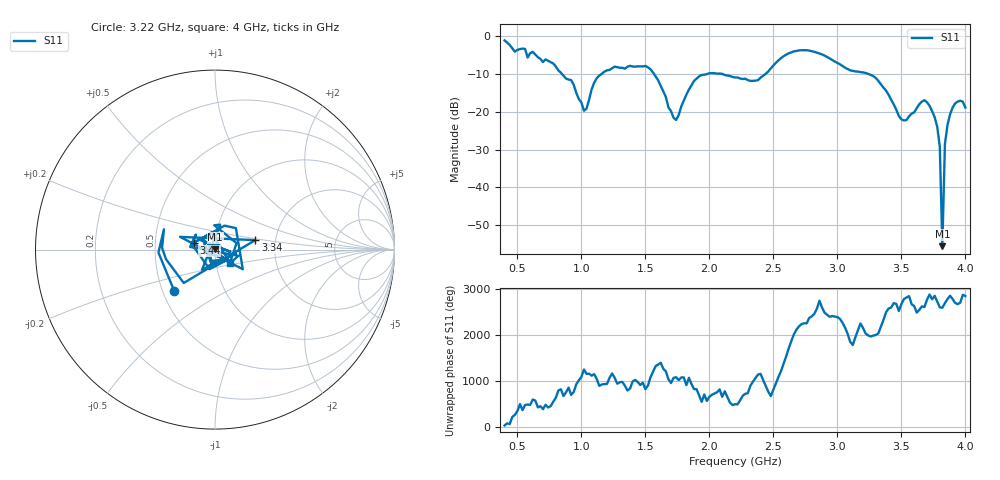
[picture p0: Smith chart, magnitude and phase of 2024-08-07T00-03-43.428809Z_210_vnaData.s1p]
!Created with skrf (http://scikit-rf.org).
# Hz S RI R 50.0
!freq ReS11 ImS11
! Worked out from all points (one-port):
!   181 points, 400 MHz to 4 GHz, reference 50 ohm
!   lowest |S11| = -55.5 dB at 3.82 GHz (marker M1), VSWR 1.00, Z = 50.1 + j0.149 ohm
!   |S11| at or under -10 dB: 1.566 GHz to 1.988 GHz (421.9 MHz wide, 23.7 % of centre); 2.095 GHz to 2.44 GHz (345.9 MHz wide, 15.3 % of centre); 3.239 GHz to end of sweep (the widest 3 of 4)
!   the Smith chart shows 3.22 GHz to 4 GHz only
!   S11 on the Smith chart (normalised r, x): 3.22 GHz: 0.57, -0.30; 3.34 GHz: 1.57, +0.17; 3.44 GHz: 0.78, +0.06; 4 GHz: 1.17, -0.18
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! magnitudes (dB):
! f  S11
! 400 MHz  -1.2
! 860 MHz  -10.5
! 920 MHz  -11.7
! 1.02 GHz  -19.8
! 1.12 GHz  -11.2
! 1.3 GHz  -8.4
! 1.54 GHz  -8.8
! 1.72 GHz  -21.6
! 1.76 GHz  -20.9
! 1.92 GHz  -10.7
! 2.2 GHz  -11.0
! 2.38 GHz  -11.7
! 2.66 GHz  -4.1
! 2.86 GHz  -4.6
! 3.1 GHz  -9.1
! 3.22 GHz  -9.8
! 3.34 GHz  -12.8
! 3.44 GHz  -18.1
! 3.5 GHz  -22.0
! 3.56 GHz  -21.2
! 3.68 GHz  -17.0
! 3.78 GHz  -24.0
! 3.8 GHz  -29.2
! 3.82 GHz  -55.5
! 3.84 GHz  -28.6
! 3.86 GHz  -23.6
! 3.92 GHz  -17.8
! 4 GHz  -18.9
